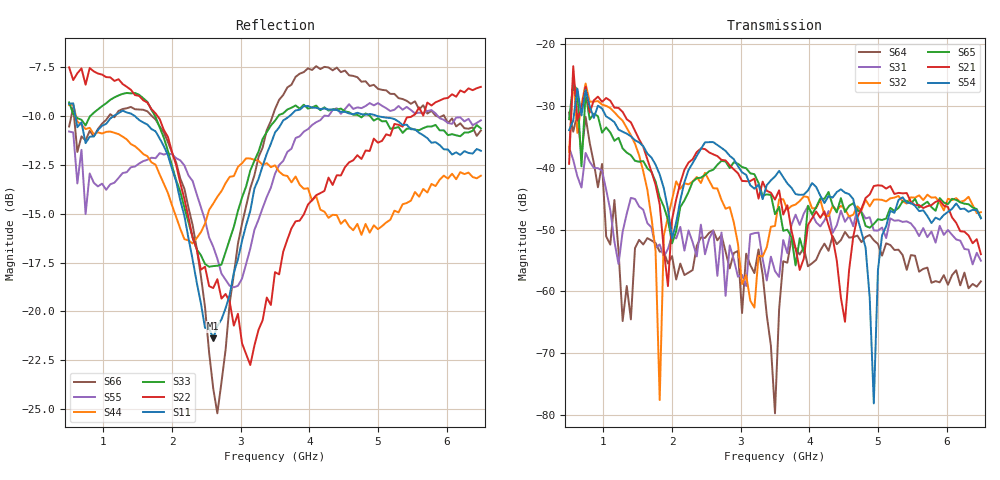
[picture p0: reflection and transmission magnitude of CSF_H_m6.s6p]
!Keysight Technologies,M9804A,MY58100912,A.14.10.03
!Date: Thursday, April 27, 2023 10:28:33
!Correction: S11(C  6-Port  )
!S12(C  6-Port  )
!S13(C  6-Port  )
!S14(C  6-Port  )
!S15(C  6-Port  )
!S16(C  6-Port  )
!S21(C  6-Port  )
!S22(C  6-Port  )
!S23(C  6-Port  )
!S24(C  6-Port  )
!S25(C  6-Port  )
!S26(C  6-Port  )
!S31(C  6-Port  )
!S32(C  6-Port  )
!S33(C  6-Port  )
!S34(C  6-Port  )
!S35(C  6-Port  )
!S36(C  6-Port  )
!S41(C  6-Port  )
!S42(C  6-Port  )
!S43(C  6-Port  )
!S44(C  6-Port  )
!S45(C  6-Port  )
!S46(C  6-Port  )
!S51(C  6-Port  )
!S52(C  6-Port  )
!S53(C  6-Port  )
!S54(C  6-Port  )
!S55(C  6-Port  )
!S56(C  6-Port  )
!S61(C  6-Port  )
!S62(C  6-Port  )
!S63(C  6-Port  )
!S64(C  6-Port  )
!S65(C  6-Port  )
!S66(C  6-Port  )
!S6P File: Measurement: :
# Hz S  RI  R 50
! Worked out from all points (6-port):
!   101 points, 500 MHz to 6.5 GHz, reference 50 ohm
!   strongest paths, dB at 500 MHz, 2 GHz, 3.5 GHz, 5 GHz, 6.5 GHz:
!     S54: -33.9, -51.4, -41.4, -56.5, -48.2
!     S21: -39.3, -48.3, -45.1, -42.8, -54.0
!     S65: -32.1, -52.2, -47.5, -48.3, -48.1
!     S32: -37.4, -45.1, -49.4, -45.1, -47.2
!     S31: -36.7, -51.0, -56.7, -50.2, -55.0
!     S64: -31.0, -54.3, -79.7, -52.3, -58.4
!   lowest |S11| = -21.4 dB at 2.6 GHz (marker M1), VSWR 1.19, Z = 42.5 + j2.32 ohm
!   |S11| at or under -10 dB: 592 MHz to 1.148 GHz (555.8 MHz wide, 63.9 % of centre); 1.459 GHz to 3.711 GHz (2.252 GHz wide, 87.1 % of centre); 4.993 GHz to end of sweep
